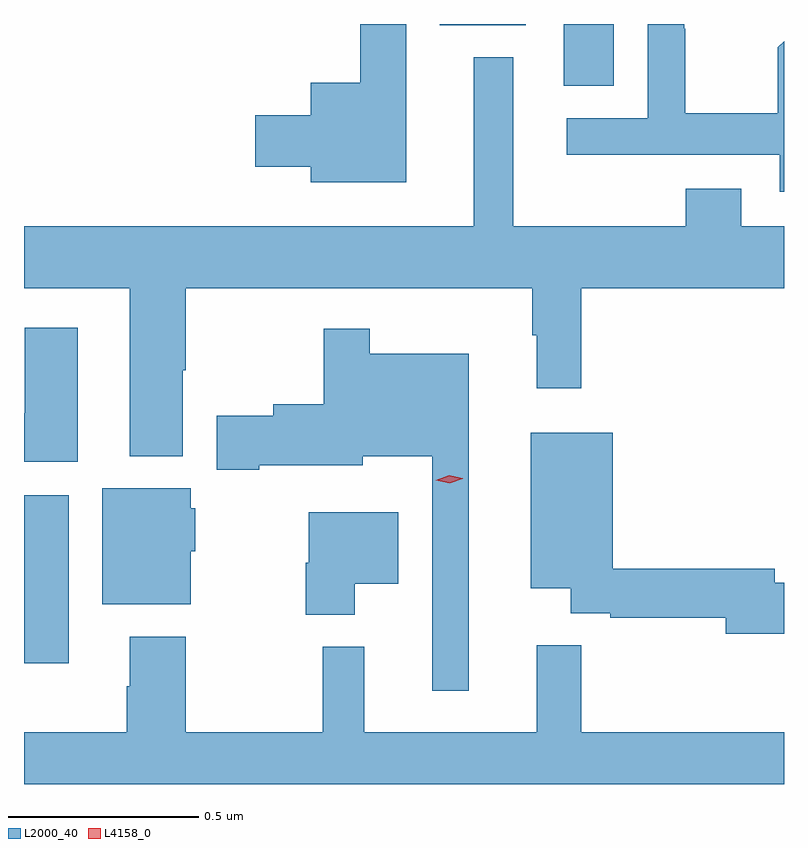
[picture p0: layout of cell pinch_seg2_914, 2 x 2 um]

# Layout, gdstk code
import gdstk
lib = gdstk.Library(unit=1e-6, precision=1e-09)
def R(c, l, rs):  # rectangles x0, y0, x1, y1
    for r in rs: c.add(gdstk.rectangle(r[:2], r[2:], *l))
def P(c, l, *ps):  # polygons
    for p in ps: c.add(gdstk.Polygon(p, *l))
L2000_40 = (2000, 40)
L4158_0 = (4158, 0)

pinch_seg2_914 = lib.new_cell('pinch_seg2_914')
R(pinch_seg2_914, L2000_40, [(396.819,628.002,396.937,628.444), (398.24,629.521,398.371,629.684), (397.913,629.681,398.14,629.684)])
P(pinch_seg2_914, L2000_40, [(398.819,629.639),(398.803,629.623),(398.803,629.449),(398.559,629.449),(398.559,629.672),(398.556,629.672),(398.556,629.684),(398.46,629.684),(398.46,629.436),(398.247,629.436),(398.247,629.34),(398.808,629.34),(398.808,629.243),(398.819,629.243)],
  [(397.825,629.684),(397.704,629.684),(397.704,629.53),(397.574,629.53),(397.574,629.444),(397.428,629.444),(397.428,629.309),(397.574,629.309),(397.574,629.267),(397.825,629.267)],
  [(397.237,628.773),(397.245,628.773),(397.245,628.988),(398.157,628.988),(398.157,628.865),(398.168,628.865),(398.168,628.725),(398.285,628.725),(398.285,628.988),(398.819,628.988),(398.819,629.152),(398.707,629.152),(398.707,629.251),(398.56,629.251),(398.56,629.152),(398.107,629.152),(398.107,629.596),(398.003,629.596),(398.003,629.152),(396.819,629.152),(396.819,628.988),(397.097,628.988),(397.097,628.547),(397.237,628.547)],
  [(396.961,628.885),(396.821,628.885),(396.821,628.66),(396.819,628.66),(396.819,628.532),(396.961,628.532)],
  [(397.99,628.816),(397.729,628.816),(397.729,628.882),(397.608,628.882),(397.608,628.683),(397.475,628.683),(397.475,628.653),(397.326,628.653),(397.326,628.511),(397.438,628.511),(397.438,628.523),(397.71,628.523),(397.71,628.547),(397.893,628.547),(397.893,627.93),(397.99,627.93)],
  [(398.819,628.214),(398.794,628.214),(398.794,628.25),(398.368,628.25),(398.368,628.609),(398.153,628.609),(398.153,628.199),(398.258,628.199),(398.258,628.134),(398.362,628.134),(398.362,628.122),(398.666,628.122),(398.666,628.079),(398.819,628.079)],
  [(397.258,628.296),(397.27,628.296),(397.27,628.41),(397.258,628.41),(397.258,628.462),(397.025,628.462),(397.025,628.157),(397.258,628.157)],
  [(397.69,628.211),(397.804,628.211),(397.804,628.399),(397.568,628.399),(397.568,628.266),(397.561,628.266),(397.561,628.13),(397.69,628.13)],
  [(397.097,627.941),(397.09,627.941),(397.09,627.82),(396.819,627.82),(396.819,627.684),(398.819,627.684),(398.819,627.82),(398.285,627.82),(398.285,628.049),(398.168,628.049),(398.168,627.82),(397.715,627.82),(397.715,628.045),(397.605,628.045),(397.605,627.82),(397.245,627.82),(397.245,628.072),(397.097,628.072)])
P(pinch_seg2_914, L4158_0, [(397.939,628.476),(397.903,628.484),(397.903,628.484),(397.903,628.484),(397.938,628.496),(397.974,628.488),(397.974,628.488),(397.974,628.487)])

lib.write_gds('pinch_seg2_914.gds')
